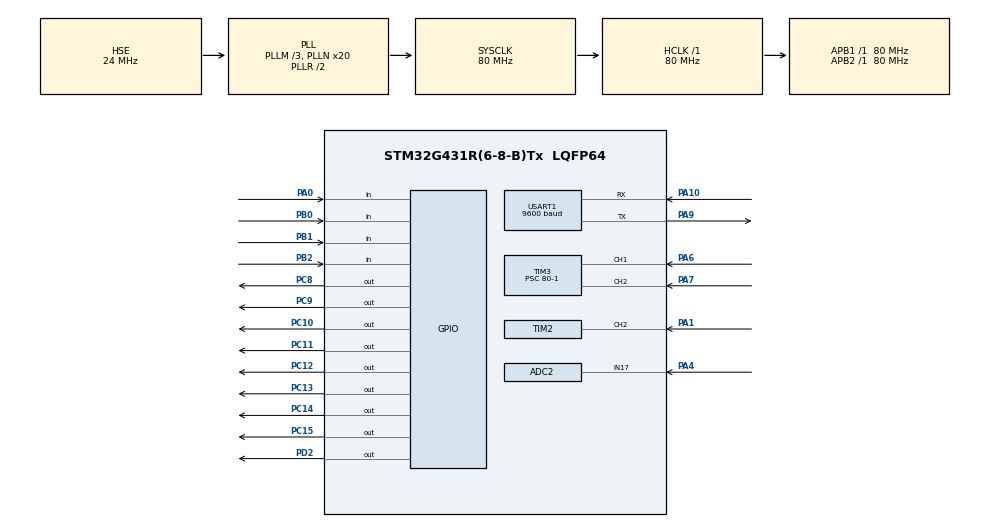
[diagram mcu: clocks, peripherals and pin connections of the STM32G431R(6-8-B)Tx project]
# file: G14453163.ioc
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ADC2.Channel-0\#ChannelRegularConversion=ADC_CHANNEL_17
ADC2.NbrOfConversionFlag=1
ADC2.OffsetNumber-0\#ChannelRegularConversion=ADC_OFFSET_NONE
ADC2.Rank-0\#ChannelRegularConversion=1
ADC2.SamplingTime-0\#ChannelRegularConversion=ADC_SAMPLETIME_2CYCLES_5
Mcu.Family=STM32G4
Mcu.Name=STM32G431R(6-8-B)Tx
Mcu.Package=LQFP64
NVIC.ADC1_2_IRQn=true\:0\:0\:false\:false\:true\:true\:true
NVIC.PriorityGroup=NVIC_PRIORITYGROUP_4
NVIC.TIM2_IRQn=true\:0\:0\:false\:false\:true\:true\:true
NVIC.TIM3_IRQn=true\:0\:0\:false\:false\:true\:true\:true
NVIC.TIM6_DAC_IRQn=true\:0\:0\:false\:false\:true\:true\:true
NVIC.USART1_IRQn=true\:0\:0\:false\:false\:true\:true\:true
PA0.GPIO_PuPd=GPIO_PULLUP
PA0.Signal=GPIO_Input
PA1.Signal=S_TIM2_CH2
PA10.Mode=Asynchronous
PA10.Signal=USART1_RX
PA13.Mode=Serial_Wire
PA13.Signal=SYS_JTMS-SWDIO
PA14.Mode=Serial_Wire
PA14.Signal=SYS_JTCK-SWCLK
PA4.Mode=IN17-Single-Ended
PA4.Signal=ADC2_IN17
PA6.Signal=S_TIM3_CH1
PA7.Signal=S_TIM3_CH2
PA9.Mode=Asynchronous
PA9.Signal=USART1_TX
PB0.GPIO_PuPd=GPIO_PULLUP
PB0.Signal=GPIO_Input
PB1.GPIO_PuPd=GPIO_PULLUP
PB1.Signal=GPIO_Input
PB2.GPIO_PuPd=GPIO_PULLUP
PB2.Signal=GPIO_Input
PC10.Signal=GPIO_Output
PC11.Signal=GPIO_Output
PC12.Signal=GPIO_Output
PC13.Signal=GPIO_Output
PC14-OSC32_IN.Signal=GPIO_Output
PC15-OSC32_OUT.Signal=GPIO_Output
PC8.Signal=GPIO_Output
PC9.Signal=GPIO_Output
PD2.Signal=GPIO_Output
PF0-OSC_IN.Mode=HSE-External-Oscillator
PF0-OSC_IN.Signal=RCC_OSC_IN
PF1-OSC_OUT.Mode=HSE-External-Oscillator
PF1-OSC_OUT.Signal=RCC_OSC_OUT
ProjectManager.HeapSize=0x200
ProjectManager.StackSize=0x400
ProjectManager.TargetToolchain=MDK-ARM V5.27
RCC.ADC12Freq_Value=80000000
RCC.AHBFreq_Value=80000000
RCC.APB1Freq_Value=80000000
RCC.APB1TimFreq_Value=80000000
RCC.APB2Freq_Value=80000000
RCC.APB2TimFreq_Value=80000000
RCC.CortexFreq_Value=80000000
RCC.EXTERNAL_CLOCK_VALUE=12288000
RCC.HCLKFreq_Value=80000000
RCC.HSE_VALUE=24000000
RCC.HSI48_VALUE=48000000
RCC.HSI_VALUE=16000000
RCC.LSE_VALUE=32768
RCC.PLLM=RCC_PLLM_DIV3
RCC.PLLN=20
RCC.PLLSourceVirtual=RCC_PLLSOURCE_HSE
RCC.SYSCLKFreq_VALUE=80000000
RCC.SYSCLKSource=RCC_SYSCLKSOURCE_PLLCLK
RCC.USBFreq_Value=80000000
RCC.VCOOutputFreq_Value=160000000
SH.S_TIM2_CH2.0=TIM2_CH2,Input_Capture2_from_TI2
SH.S_TIM3_CH1.0=TIM3_CH1,Input_Capture1_from_TI1
SH.S_TIM3_CH2.0=TIM3_CH2,Input_Capture2_from_TI2
TIM2.Channel-Input_Capture2_from_TI2=TIM_CHANNEL_2
TIM2.Prescaler=80-1
TIM3.Channel-Input_Capture1_from_TI1=TIM_CHANNEL_1
TIM3.Channel-Input_Capture2_from_TI2=TIM_CHANNEL_2
TIM3.Prescaler=80-1
TIM6.PeriodNoDither=1000-1
TIM6.Prescaler=80-1
USART1.BaudRate=9600
USART1.VirtualMode-Asynchronous=VM_ASYNC
VP_SYS_VS_DBSignals.Mode=DisableDeadBatterySignals
VP_TIM2_VS_ClockSourceINT.Mode=Internal
VP_TIM3_VS_ClockSourceINT.Mode=Internal
VP_TIM6_VS_ClockSourceINT.Mode=Enable_Timer
board=custom

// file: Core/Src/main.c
/* USER CODE BEGIN Header */
/**
  ******************************************************************************
  * @file           : main.c
  * @brief          : Main program body
  ******************************************************************************
  * @attention
  *
  * <h2><center>&copy; Copyright (c) 2023 STMicroelectronics.
  * All rights reserved.</center></h2>
  *
  * This software component is licensed by ST under BSD 3-Clause license,
  * the "License"; You may not use this file except in compliance with the
  * License. You may obtain a copy of the License at:
  *                        opensource.org/licenses/BSD-3-Clause
  *
  ******************************************************************************
  */
/* USER CODE END Header */
#include "main.h"
#include "adc.h"
#include "tim.h"
#include "usart.h"
#include "gpio.h"

/* USER CODE BEGIN Includes */
#include "base.h"
#include "lcd.h"

/* USER CODE END Includes */

/* USER CODE BEGIN PV */

extern uint16_t tim6_10ms, tim6_100ms;
extern _Bool key[4];
extern uint8_t key_cnt;
extern uint32_t tim2_ic2_fre;
extern float tim3_ic1_duty;
extern float tim3_ic2_duty;
extern uint32_t tim3_ic2_high, tim3_ic2_all;
extern char rx_data[50];
extern uint8_t rx_p;
extern uint8_t rx_byte;
//
uint8_t led = 0x00;
char text[10][30];
float ao1;
char rx_mes[50];
uint8_t flag_pwm = 0;
double a = 0, b = 0;
double ax, bx;
uint8_t mode = 0;
_Bool flag_x = 0;
uint16_t Pax = 20, Pbx= 20, Pf = 1000;
void RX_PRO(void)
{
	if(rx_p)
	{
		if(rx_p == 2)
		{
			if(strcmp(rx_data, "ab") == 0)
			{
				sprintf(rx_mes, "hi\n");
				HAL_UART_Transmit(&huart1, (unsigned char *)rx_mes, strlen(rx_mes), 50);
			}
		}
		else
		{
			sprintf(rx_mes, "error\n");
			HAL_UART_Transmit(&huart1, (unsigned char *)rx_mes, strlen(rx_mes), 50);
		}
		rx_p = 0;
		memset(rx_data, 0, 50);
	}
}
/* USER CODE END PV */

void SystemClock_Config(void);

int main(void)
{

  /* MCU Configuration--------------------------------------------------------*/

  /* Reset of all peripherals, Initializes the Flash interface and the Systick. */
  HAL_Init();

  /* Configure the system clock */
  SystemClock_Config();

  /* Initialize all configured peripherals */
  MX_GPIO_Init();
  MX_TIM6_Init();
  MX_TIM2_Init();
  MX_TIM3_Init();
  MX_ADC2_Init();
  MX_USART1_UART_Init();
  /* USER CODE BEGIN 2 */
	HAL_TIM_Base_Start_IT(&htim6);
    LCD_Init();
    LCD_Clear(Black);
    LCD_SetBackColor(Black);
    LCD_SetTextColor(White);
		HAL_TIM_IC_Start_IT(&htim2, TIM_CHANNEL_2);
		HAL_TIM_IC_Start_IT(&htim3, TIM_CHANNEL_1);
		HAL_TIM_IC_Start_IT(&htim3, TIM_CHANNEL_2);
		HAL_UART_Receive_IT(&huart1, &rx_byte, 1);

  /* USER CODE END 2 */

  /* Infinite loop */
  /* USER CODE BEGIN WHILE */
	LED(0x00);
  while (1)
  {
		if(tim6_10ms >= 10)
		{
			tim6_10ms = 0;
			//in
			KEY();
			//pro
			if(!key[0] && key_cnt == 2)
			{
				mode = !mode;
			}
			if(mode == 0)
			{
				if(!key[2] && key_cnt == 2)
				{
					flag_x = !flag_x;
				}
				if(!key[3] && key_cnt == 2)
				{
					flag_pwm = 1;
				}
				sprintf(text[1], "        DATA");
				sprintf(text[2], "   a:%.1f   ", a);
				sprintf(text[3], "   b:%.1f   ", b);
				sprintf(text[4], "   f:%d     ", tim2_ic2_fre);
				sprintf(text[6], "   ax:%.0f      ", ax);
				sprintf(text[7], "   bx:%.0f      ", bx);
				if(flag_x == 0)
					sprintf(text[8], "   mode:A     ");
				else if(flag_x == 1)
					sprintf(text[8], "   mode:B      ");
			}
			else if(mode == 1)
			{
				if(!key[1] && key_cnt == 2)
				{
					Pax+=10;
					Pbx+=10;
					if(Pax > 60)
						Pax = 10;
					if(Pbx > 60)
						Pbx = 10;
				}
				if(!key[2] && key_cnt == 2)
				{
					Pf+=1000;
					if(Pf > 10000)
						Pf = 1000;
				}
				sprintf(text[1], "        PAPA");
				sprintf(text[2], "   Pax:%d    ", Pax);
				sprintf(text[3], "   Pbx:%d    ", Pbx);
				sprintf(text[4], "   Pf:%d     ", Pf);
				sprintf(text[6], "                   ");
				sprintf(text[7], "                   ");
				sprintf(text[8], "                   ");
			}
			//out

		}
		if(tim6_100ms >= 100)
		{
			tim6_100ms = 0;
			//in
			RX_PRO();
			ao1 = GETADC(&hadc2);
			//pro
			if(flag_x == 1)
			{
				if(ao1 > 2 && flag_pwm == 0)
				{
					flag_x = 2;
					flag_pwm = 1;
				}
			}

			if(flag_x == 1)
			{
				if(flag_pwm == 1)
				{
					flag_pwm = 2;
					if((double)tim3_ic1_duty > 10.0 && (double)tim3_ic1_duty <= 90)
					{
						if(((double)tim3_ic1_duty - 10.0) * 2.25 > a)
							ax = ((double)tim3_ic1_duty - 10.0) * 2.25 - a;
						else
							ax = a - ((double)tim3_ic1_duty - 10.0) * 2.25;
						a = ((double)tim3_ic1_duty - 10.0) * 2.25;
					}
					else if((double)tim3_ic1_duty >= 90)
					{
						a = 180;
					}
					else if((double)tim3_ic1_duty < 10)
					{
						ax = a;
						a = 0;
					}

					if((double)tim3_ic2_duty > 10.0 && (double)tim3_ic2_duty <= 90)
					{
						if(((double)tim3_ic2_duty - 10.0) * 1.125 > b)
							bx = ((double)tim3_ic2_duty - 10.0) * 1.125 - b;
						else
							bx = b - ((double)tim3_ic2_duty - 10.0) * 1.125;
						b = ((double)tim3_ic2_duty - 10.0) * 1.125;
					}
					else if(tim3_ic2_duty > 90)
					{
						b = 90;
					}
					else if(tim3_ic2_duty < 10)
					{
						bx = b;
						b = 0;
					}
				}
				else if(flag_pwm == 2)
				{
					if(ao1 < 2)
						flag_pwm = 0;
				}
			}
			else
			{
				if(flag_pwm == 1)
				{
					flag_pwm = 0;
					if((double)tim3_ic1_duty > 10.0 && (double)tim3_ic1_duty <= 90)
					{
						if(((double)tim3_ic1_duty - 10.0) * 2.25 > a)
							ax = ((double)tim3_ic1_duty - 10.0) * 2.25 - a;
						else
							ax = a - ((double)tim3_ic1_duty - 10.0) * 2.25;
						a = ((double)tim3_ic1_duty - 10.0) * 2.25;
					}
					else if((double)tim3_ic1_duty > 90)
					{
						a = 180;
					}
					else if((double)tim3_ic1_duty < 10)
					{
						ax = a;
						a = 0;
					}

					if((double)tim3_ic2_duty > 10.0 && (double)tim3_ic2_duty <= 90)
					{
						if(((double)tim3_ic2_duty - 10.0) * 1.125 > b)
							bx = ((double)tim3_ic2_duty - 10.0) * 1.125 - b;
						else
							bx = b - ((double)tim3_ic2_duty - 10.0) * 1.125;
						b = ((double)tim3_ic2_duty - 10.0) * 1.125;
					}
					else if(tim3_ic2_duty > 90)
					{
						b = 90;
					}
					else if(tim3_ic2_duty < 10)
					{
						bx = b;
						b = 0;
					}
				}
			}

			if(ax > Pax)
				led |= 0x01;
			else
				led &= ~0x01;
			if(bx > Pbx)
				led |= 0x02;
			else
				led &= ~0x02;
			if(tim2_ic2_fre > Pf)
				led |= 0x04;
			else
				led &= ~0x04;
			if(!flag_x)
				led |= 0x10;
			else
				led &= ~0x10;

			if( (90 + b - a) < 10)
				led |= 0x20;
			else
				led &= ~0x20;

			//out
			LED(led);
			LCD_DisplayStringLine(Line1, (unsigned char *)text[1]);
			LCD_DisplayStringLine(Line2, (unsigned char *)text[2]);
			LCD_DisplayStringLine(Line3, (unsigned char *)text[3]);
			LCD_DisplayStringLine(Line4, (unsigned char *)text[4]);
			LCD_DisplayStringLine(Line6, (unsigned char *)text[6]);
			LCD_DisplayStringLine(Line7, (unsigned char *)text[7]);
			LCD_DisplayStringLine(Line8, (unsigned char *)text[8]);
		}
    /* USER CODE END WHILE */

  }
}

void SystemClock_Config(void)
{
  RCC_OscInitTypeDef RCC_OscInitStruct = {0};
  RCC_ClkInitTypeDef RCC_ClkInitStruct = {0};
  RCC_PeriphCLKInitTypeDef PeriphClkInit = {0};

  /** Configure the main internal regulator output voltage
  */
  HAL_PWREx_ControlVoltageScaling(PWR_REGULATOR_VOLTAGE_SCALE1);
  /** Initializes the RCC Oscillators according to the specified parameters
  * in the RCC_OscInitTypeDef structure.
  */
  RCC_OscInitStruct.OscillatorType = RCC_OSCILLATORTYPE_HSE;
  RCC_OscInitStruct.HSEState = RCC_HSE_ON;
  RCC_OscInitStruct.PLL.PLLState = RCC_PLL_ON;
  RCC_OscInitStruct.PLL.PLLSource = RCC_PLLSOURCE_HSE;
  RCC_OscInitStruct.PLL.PLLM = RCC_PLLM_DIV3;
  RCC_OscInitStruct.PLL.PLLN = 20;
  RCC_OscInitStruct.PLL.PLLP = RCC_PLLP_DIV2;
  RCC_OscInitStruct.PLL.PLLQ = RCC_PLLQ_DIV2;
  RCC_OscInitStruct.PLL.PLLR = RCC_PLLR_DIV2;
  if (HAL_RCC_OscConfig(&RCC_OscInitStruct) != HAL_OK)
  {
    Error_Handler();
  }
  /** Initializes the CPU, AHB and APB buses clocks
  */
  RCC_ClkInitStruct.ClockType = RCC_CLOCKTYPE_HCLK|RCC_CLOCKTYPE_SYSCLK
                              |RCC_CLOCKTYPE_PCLK1|RCC_CLOCKTYPE_PCLK2;
  RCC_ClkInitStruct.SYSCLKSource = RCC_SYSCLKSOURCE_PLLCLK;
  RCC_ClkInitStruct.AHBCLKDivider = RCC_SYSCLK_DIV1;
  RCC_ClkInitStruct.APB1CLKDivider = RCC_HCLK_DIV1;
  RCC_ClkInitStruct.APB2CLKDivider = RCC_HCLK_DIV1;

  if (HAL_RCC_ClockConfig(&RCC_ClkInitStruct, FLASH_LATENCY_2) != HAL_OK)
  {
    Error_Handler();
  }
  /** Initializes the peripherals clocks
  */
  PeriphClkInit.PeriphClockSelection = RCC_PERIPHCLK_USART1|RCC_PERIPHCLK_ADC12;
  PeriphClkInit.Usart1ClockSelection = RCC_USART1CLKSOURCE_PCLK2;
  PeriphClkInit.Adc12ClockSelection = RCC_ADC12CLKSOURCE_SYSCLK;
  if (HAL_RCCEx_PeriphCLKConfig(&PeriphClkInit) != HAL_OK)
  {
    Error_Handler();
  }
}

void Error_Handler(void)
{
  __disable_irq();
  while (1)
  {
  }
}

/************************ (C) COPYRIGHT STMicroelectronics *****END OF FILE****/
